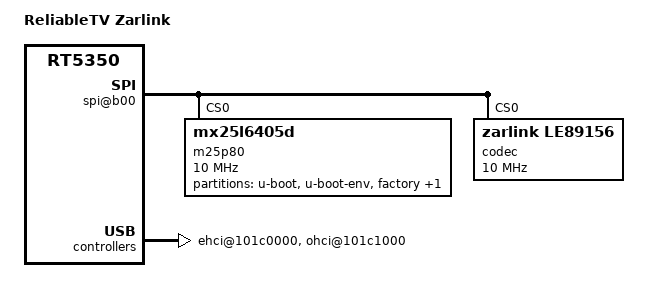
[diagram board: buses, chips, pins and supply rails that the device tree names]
/include/ "rt5350.dtsi"

/ {
	compatible = "ZARLINK", "ralink,rt5350-soc";
	model = "ReliableTV Zarlink";

	palmbus@10000000 {
		spi@b00 {
			status = "okay";
			m25p80@0 {
				compatible = "mx25l6405d";
				linux,modalias = "m25p80", "mx25l6405d";

				#address-cells = <1>;
				#size-cells = <1>;
				reg = <0 0>;
				spi-max-frequency = <10000000>;

				partition@0 {
					label = "u-boot";
					reg = <0x0 0x30000>;
					read-only;
				};

				partition@30000 {
					label = "u-boot-env";
					reg = <0x30000 0x10000>;
					read-only;
				};

				factory: partition@40000 {
					label = "factory";
					reg = <0x40000 0x10000>;
					read-only;
				};

				partition@50000 {
					label = "firmware";
					reg = <0x50000 0x1fb0000>;
				};
			};

			codec: le89156@1 {
				compatible = "zarlink,le89156";
				reg = <0 0>;
				spi-max-frequency = <10000000>;
			};
		};
	};

	sound {
		compatible = "ralink,le89156-audio";
		controller = <&pcm>;
		audio-codec = <&codec>;
		audio-routing =
			"MIC_IN", "Mic Jack",
			"Mic Jack", "Mic Bias",
			"Headphone Jack", "HP_OUT";
		mux-int-port = <1>;
		mux-ext-port = <4>;
	};


	pinctrl {
		state_default: pinctrl0 {
			gpio {
				ralink,group = "i2c", "jtag";
				ralink,function = "gpio";
			};
			uartf {
				ralink,group = "uartf";
				ralink,function = "pcm gpio";
			};
		};
	};

	esw@10110000 {
		ralink,portmap = <0x3f>;
	};

	ehci@101c0000 {
		status = "okay";
	};

	ohci@101c1000 {
		status = "okay";
	};
};
